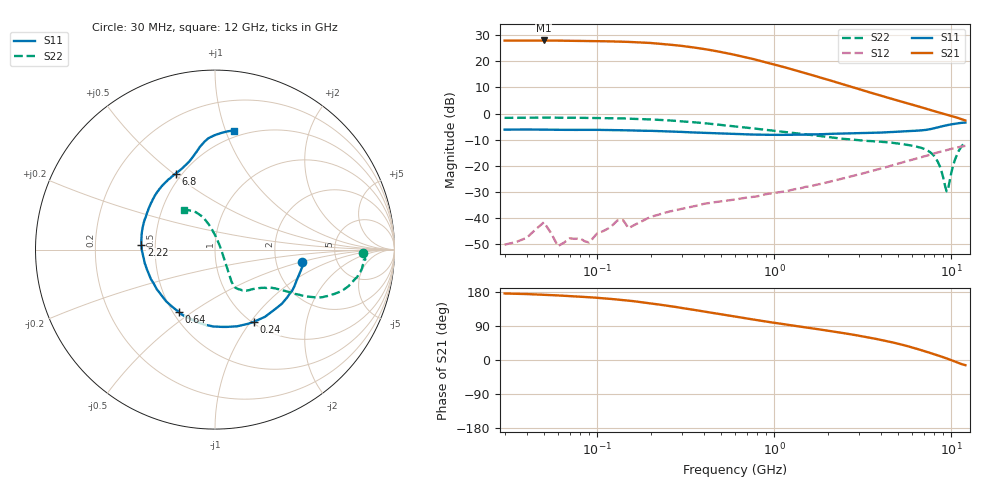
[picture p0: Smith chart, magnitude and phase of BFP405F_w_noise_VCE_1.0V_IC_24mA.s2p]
! Infineon Technologies  Discrete & RF Semiconductors
! BFP405F
! VCE =  1.0 V,  IC =  24 mA
! Common Emitter S-Parameters:  Nov 2015
# GHz  S  MA  R  50
!  f  S11  S21  S12  S22
! GHz  MAG  ANG  MAG  ANG  MAG  ANG  MAG  ANG
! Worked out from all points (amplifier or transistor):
!   239 points, 30 MHz to 12 GHz, reference 50 ohm
!   highest |S21| = 28.0 dB at 50 MHz (marker M1)
!   |S21| within 3 dB of that: start of sweep to 377.8 MHz
!   unconditionally stable (mu >= 1): start of sweep to 43.55 MHz; 78.71 MHz to 98.53 MHz; 685.4 MHz to end of sweep (the widest 3 of 5)
!   at 300 MHz: K = 0.67, MSG = 31.2 dB, |S12| = -36.5 dB
!   at 1.88 GHz: K = 1.64, MAG = 15.4 dB, |S12| = -26.7 dB
!   at 12 GHz: K = 1.69, MAG = 0.0 dB, |S12| = -12.4 dB
!   lowest NFmin = 2.43 dB at 450 MHz
!   S11 on the Smith chart (normalised r, x): 30 MHz: 2.82, -0.53; 240 MHz: 1.02, -1.04; 640 MHz: 0.54, -0.45; 2.22 GHz: 0.42, +0.02; 6.8 GHz: 0.46, +0.51; 12 GHz: 0.45, +1.07
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0.03  0.4915 -8.3  24.83 175.5  0.0031 114.5  0.8266 -1.4
0.04  0.495 -11.6  24.89 174.0  0.0042 78.2  0.8329 -2.4
0.05  0.4906 -15.2  24.98 172.0  0.0083 55.7  0.8395 -3.8
0.06  0.4886 -16.9  24.8 170.4  0.0029 111.9  0.8311 -4.0
0.085  0.4868 -23.7  24.5 166.3  0.0036 97.5  0.827 -6.5
0.145  0.4776 -40.0  23.56 157.5  0.0077 66.3  0.801 -11.5
0.19  0.467 -50.9  22.54 150.8  0.0097 72.1  0.7755 -14.7
0.24  0.4567 -61.9  21.21 144.3  0.0126 70.3  0.7476 -17.6
0.3  0.4447 -74.0  19.67 137.3  0.015 67.0  0.7089 -20.4
0.4  0.4284 -91.3  17.17 127.8  0.0187 63.4  0.6547 -23.9
0.6  0.4068 -116.4  13.22 114.3  0.0226 58.3  0.5662 -27.4
0.64  0.4023 -120.0  12.63 112.4  0.0234 58.2  0.5535 -27.7
0.8  0.3965 -133.4  10.52 105.0  0.026 57.5  0.5092 -29.0
1  0.3924 -145.8  8.671 98.1  0.0302 57.9  0.4671 -30.1
1.3  0.3923 -159.5  6.784 90.2  0.0356 58.9  0.4237 -31.6
1.64  0.3989 -170.0  5.416 83.5  0.0413 59.6  0.3874 -33.5
2.22  0.4111 176.7  3.99 74.1  0.0525 60.4  0.3413 -38.7
4.5  0.441 143.9  1.953 48.0  0.0988 55.1  0.2791 -54.7
6.8  0.4769 117.4  1.308 25.6  0.1466 44.5  0.2192 -63.2
8.4  0.5449 101.8  1.06 12.0  0.1804 35.9  0.1176 -55.9
9.4  0.5961 96.5  0.951 4.2  0.1996 30.2  0.0325 12.5
12  0.6705 80.7  0.735 -13.6  0.2411 16.1  0.2824 128.0
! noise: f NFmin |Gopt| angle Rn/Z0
0.45  2.43  0.04  -155  0.42
0.9  2.46  0.05  -147  0.25
1.5  2.53  0.09  -136  0.33
1.9  2.62  0.1  -132  0.4
2.4  2.79  0.12  -128  0.18
3  2.92  0.13  -125  0.16
3.5  3.04  0.14  -122  0.26
4.5  3.34  0.18  -108  0.56
5.5  3.72  0.34  -88  0.53
